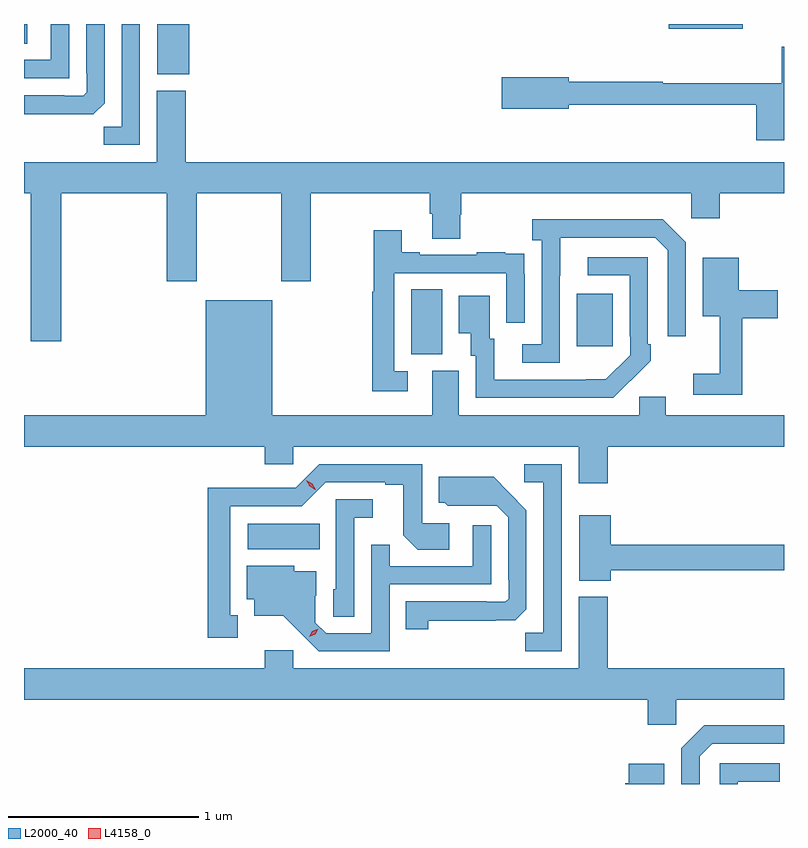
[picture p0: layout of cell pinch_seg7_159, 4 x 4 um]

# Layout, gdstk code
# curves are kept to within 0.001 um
import gdstk
lib = gdstk.Library(unit=1e-6, precision=1e-09)
def R(c, l, rs):  # rectangles x0, y0, x1, y1
    for r in rs: c.add(gdstk.rectangle(r[:2], r[2:], *l))
def P(c, l, *ps):  # polygons
    for p in ps: c.add(gdstk.Polygon(p, *l))
L2000_40 = (2000, 40)
L4158_0 = (4158, 0)

pinch_seg7_159 = lib.new_cell('pinch_seg7_159')
R(pinch_seg7_159, L2000_40, [(1046.244,1024.052,1046.624,1024.186), (1047.104,1025.077,1047.268,1025.42), (1047.977,1025.121,1048.165,1025.395), (1045.769,1026.551,1045.936,1026.816), (1045.067,1026.712,1045.084,1026.816), (1048.46,1026.791,1048.849,1026.816)])
P(pinch_seg7_159, L2000_40, [(1045.305,1026.816),(1045.209,1026.816),(1045.209,1026.627),(1045.067,1026.627),(1045.067,1026.531),(1045.305,1026.531)],
  [(1045.677,1026.816),(1045.581,1026.816),(1045.581,1026.275),(1045.486,1026.275),(1045.486,1026.18),(1045.677,1026.18)],
  [(1045.331,1026.341),(1045.432,1026.341),(1045.491,1026.4),(1045.491,1026.816),(1045.395,1026.816),(1045.395,1026.556),(1045.398,1026.556),(1045.398,1026.456),(1045.38,1026.438),(1045.28,1026.438),(1045.28,1026.441),(1045.067,1026.441),(1045.067,1026.34)],
  [(1049.067,1026.695),(1049.054,1026.695),(1049.054,1026.503),(1048.43,1026.503),(1048.43,1026.511),(1047.934,1026.511),(1047.934,1026.537),(1047.582,1026.537),(1047.582,1026.371),(1047.934,1026.371),(1047.934,1026.39),(1048.922,1026.39),(1048.922,1026.203),(1049.067,1026.203)],
  [(1045.262,1025.924),(1045.817,1025.924),(1045.817,1025.463),(1045.977,1025.463),(1045.977,1025.924),(1046.422,1025.924),(1046.422,1025.463),(1046.577,1025.463),(1046.577,1025.924),(1047.203,1025.924),(1047.203,1025.818),(1047.215,1025.818),(1047.215,1025.686),(1047.363,1025.686),(1047.363,1025.811),(1047.368,1025.811),(1047.368,1025.924),(1048.578,1025.924),(1048.578,1025.793),(1048.73,1025.793),(1048.73,1025.924),(1049.067,1025.924),(1049.067,1026.088),(1045.919,1026.088),(1045.919,1026.466),(1045.766,1026.466),(1045.766,1026.088),(1045.067,1026.088),(1045.067,1025.924),(1045.102,1025.924),(1045.102,1025.145),(1045.262,1025.145)],
  [(1047.888,1025.491),(1047.889,1025.691),(1048.389,1025.691),(1048.455,1025.625),(1048.455,1025.172),(1048.551,1025.172),(1048.551,1025.667),(1048.43,1025.788),(1047.741,1025.788),(1047.741,1025.678),(1047.792,1025.678),(1047.792,1025.13),(1047.69,1025.13),(1047.69,1025.034),(1047.888,1025.034)],
  [(1047.088,1024.989),(1047.015,1024.989),(1047.015,1025.505),(1047.606,1025.505),(1047.606,1025.244),(1047.702,1025.244),(1047.702,1025.498),(1047.701,1025.498),(1047.701,1025.607),(1047.599,1025.607),(1047.599,1025.614),(1047.451,1025.614),(1047.451,1025.601),(1047.151,1025.601),(1047.151,1025.614),(1047.055,1025.614),(1047.055,1025.731),(1046.907,1025.731),(1046.907,1025.408),(1046.899,1025.408),(1046.899,1024.884),(1047.088,1024.884)],
  [(1048.259,1024.939),(1048.26,1024.938),(1048.365,1025.043),(1048.365,1025.131),(1048.35,1025.131),(1048.35,1025.589),(1048.035,1025.589),(1048.035,1025.493),(1048.254,1025.493),(1048.254,1025.173),(1048.257,1025.173),(1048.257,1025.073),(1048.129,1024.945),(1047.541,1024.944),(1047.541,1025.16),(1047.517,1025.16),(1047.517,1025.386),(1047.356,1025.386),(1047.356,1025.189),(1047.419,1025.189),(1047.419,1025.07),(1047.444,1025.07),(1047.444,1024.848),(1048.168,1024.848)],
  [(1048.847,1025.267),(1049.035,1025.267),(1049.035,1025.414),(1048.828,1025.414),(1048.828,1025.587),(1048.64,1025.587),(1048.64,1025.279),(1048.73,1025.279),(1048.73,1024.975),(1048.59,1024.975),(1048.59,1024.866),(1048.847,1024.866)],
  [(1049.067,1024.756),(1048.444,1024.756),(1048.444,1024.854),(1048.305,1024.854),(1048.305,1024.756),(1047.355,1024.756),(1047.355,1024.992),(1047.215,1024.992),(1047.215,1024.756),(1046.374,1024.756),(1046.374,1025.362),(1046.024,1025.362),(1046.024,1024.756),(1045.067,1024.756),(1045.067,1024.592),(1046.333,1024.592),(1046.333,1024.499),(1046.484,1024.499),(1046.484,1024.592),(1047.986,1024.592),(1047.986,1024.398),(1048.139,1024.398),(1048.139,1024.592),(1049.067,1024.592)],
  [(1046.191,1023.705),(1046.152,1023.705),(1046.152,1024.278),(1046.529,1024.278),(1046.655,1024.404),(1046.969,1024.404),(1046.969,1024.392),(1047.063,1024.392),(1047.063,1024.124),(1047.139,1024.048),(1047.304,1024.048),(1047.304,1024.188),(1047.162,1024.188),(1047.162,1024.5),(1046.622,1024.5),(1046.496,1024.374),(1046.274,1024.374),(1046.274,1024.376),(1046.034,1024.376),(1046.034,1023.585),(1046.191,1023.585)],
  [(1047.897,1024.5),(1047.699,1024.5),(1047.699,1024.404),(1047.801,1024.404),(1047.801,1023.611),(1047.706,1023.611),(1047.706,1023.516),(1047.897,1023.516)],
  [(1047.195,1023.676),(1047.652,1023.677),(1047.711,1023.736),(1047.711,1024.258),(1047.539,1024.432),(1047.251,1024.432),(1047.251,1024.296),(1047.282,1024.296),(1047.298,1024.28),(1047.555,1024.281),(1047.615,1024.221),(1047.615,1023.892),(1047.618,1023.892),(1047.618,1023.792),(1047.6,1023.774),(1047.5,1023.774),(1047.5,1023.777),(1047.076,1023.777),(1047.076,1023.63),(1047.195,1023.63)],
  [(1046.805,1024.217),(1046.902,1024.217),(1046.902,1024.314),(1046.709,1024.314),(1046.709,1023.84),(1046.694,1023.84),(1046.694,1023.697),(1046.805,1023.697)],
  [(1048.156,1023.94),(1049.067,1023.94),(1049.067,1024.076),(1048.156,1024.076),(1048.156,1024.231),(1047.989,1024.231),(1047.989,1023.887),(1048.156,1023.887)],
  [(1046.991,1023.867),(1047.525,1023.867),(1047.525,1024.177),(1047.429,1024.177),(1047.429,1023.963),(1046.993,1023.963),(1046.993,1024.076),(1046.895,1024.076),(1046.895,1023.609),(1046.658,1023.609),(1046.601,1023.666),(1046.601,1023.808),(1046.605,1023.808),(1046.605,1023.937),(1046.49,1023.937),(1046.49,1023.964),(1046.24,1023.964),(1046.24,1023.788),(1046.279,1023.788),(1046.279,1023.701),(1046.431,1023.701),(1046.618,1023.516),(1046.991,1023.516)],
  [(1048.349,1023.129),(1048.5,1023.129),(1048.5,1023.26),(1049.067,1023.26),(1049.067,1023.424),(1048.139,1023.424),(1048.139,1023.802),(1047.986,1023.802),(1047.986,1023.424),(1046.484,1023.424),(1046.484,1023.52),(1046.333,1023.52),(1046.333,1023.424),(1045.067,1023.424),(1045.067,1023.26),(1048.349,1023.26)],
  [(1048.623,1022.961),(1048.689,1023.027),(1049.067,1023.027),(1049.067,1023.124),(1048.648,1023.124),(1048.527,1023.003),(1048.527,1022.816),(1048.623,1022.816)],
  [(1048.824,1022.829),(1049.044,1022.829),(1049.044,1022.925),(1048.728,1022.925),(1048.728,1022.816),(1048.824,1022.816)],
  [(1048.438,1022.923),(1048.25,1022.923),(1048.25,1022.819),(1048.231,1022.819),(1048.231,1022.816),(1048.438,1022.816)])
P(pinch_seg7_159, L4158_0, [(1046.568,1023.59),(1046.568,1023.59),(1046.585,1023.619),(1046.616,1023.634),(1046.616,1023.634),(1046.616,1023.634),(1046.599,1023.604),(1046.568,1023.59)],
  [(1046.601,1024.364),(1046.57,1024.383),(1046.552,1024.416),(1046.552,1024.416),(1046.553,1024.416),(1046.584,1024.397),(1046.602,1024.364),(1046.602,1024.364)])

lib.write_gds('pinch_seg7_159.gds')
